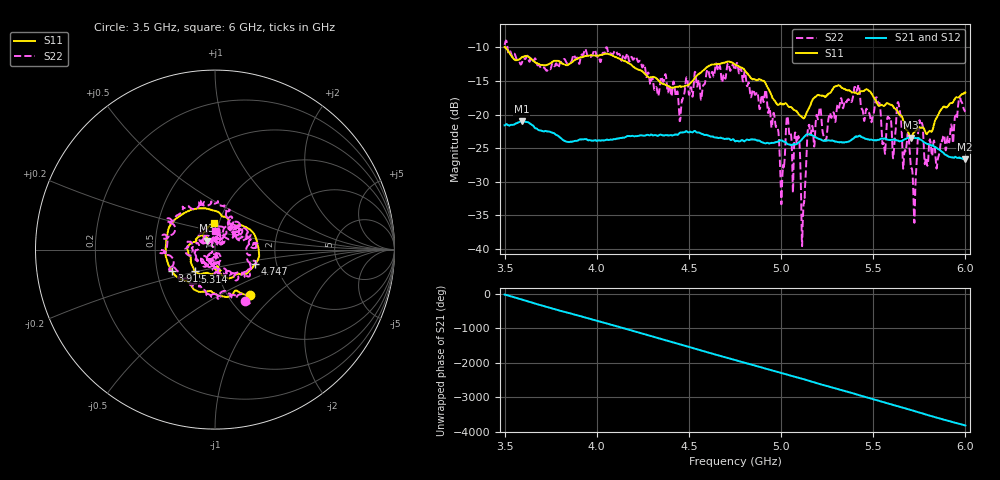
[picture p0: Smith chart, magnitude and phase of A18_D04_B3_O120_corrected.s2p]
! Created with skrf 1.9.0 (http://scikit-rf.org).
# Hz S RI R 50.0
!freq ReS11 ImS11 ReS21 ImS21 ReS12 ImS12 ReS22 ImS22
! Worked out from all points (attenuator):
!   1601 points, 3.5 GHz to 6 GHz, reference 50 ohm
!   highest |S21| = -21.04 dB at 3.592 GHz (marker M1); lowest = -26.7 dB at 5.997 GHz (marker M2)
!   lowest |S11| = -23.5 dB at 5.703 GHz (marker M3), VSWR 1.14, Z = 45.4 + j4.51 ohm
!   |S11| at or under -10 dB: 3.503 GHz to end of sweep
!   |S22| runs from -39.6 to -9.0 dB; largest |S21 - S12| = 0.0011
!   S11 on the Smith chart (normalised r, x): 3.5 GHz: 1.26, -0.71; 3.919 GHz: 0.60, -0.15; 4.747 GHz: 1.55, -0.26; 5.314 GHz: 0.78, -0.19; 6 GHz: 0.94, +0.28
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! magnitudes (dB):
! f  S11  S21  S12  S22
! 3.5 GHz  -9.9  -21.6  -21.6  -9.6
! 3.592 GHz  -11.5  -21.0  -21.0  -12.4
! 3.917 GHz  -11.5  -23.7  -23.7  -11.1
! 3.919 GHz  -11.5  -23.7  -23.7  -11.1
! 4.334 GHz  -14.9  -23.2  -23.1  -17.2
! 4.747 GHz  -12.5  -23.9  -23.8  -13.3
! 4.75 GHz  -12.6  -24.0  -23.9  -13.4
! 4.923 GHz  -15.8  -24.2  -24.2  -17.9
! 5.006 GHz  -18.5  -23.9  -23.9  -29.6
! 5.036 GHz  -18.7  -24.4  -24.3  -20.3
! 5.088 GHz  -19.6  -24.3  -24.3  -24.1
! 5.119 GHz  -20.5  -23.5  -23.4  -35.2
! 5.167 GHz  -18.0  -23.1  -23.0  -21.8
! 5.314 GHz  -15.7  -24.1  -24.1  -19.0
! 5.584 GHz  -18.4  -23.8  -23.7  -20.5
! 5.639 GHz  -19.9  -24.0  -23.9  -18.6
! 5.703 GHz  -23.5  -23.6  -23.5  -27.5
! 5.722 GHz  -22.6  -23.5  -23.4  -35.6
! 5.756 GHz  -22.0  -23.7  -23.7  -21.5
! 5.848 GHz  -20.3  -25.1  -25.0  -27.1
! 5.997 GHz  -16.8  -26.7  -26.6  -19.5
! 6 GHz  -16.7  -26.7  -26.6  -19.6
